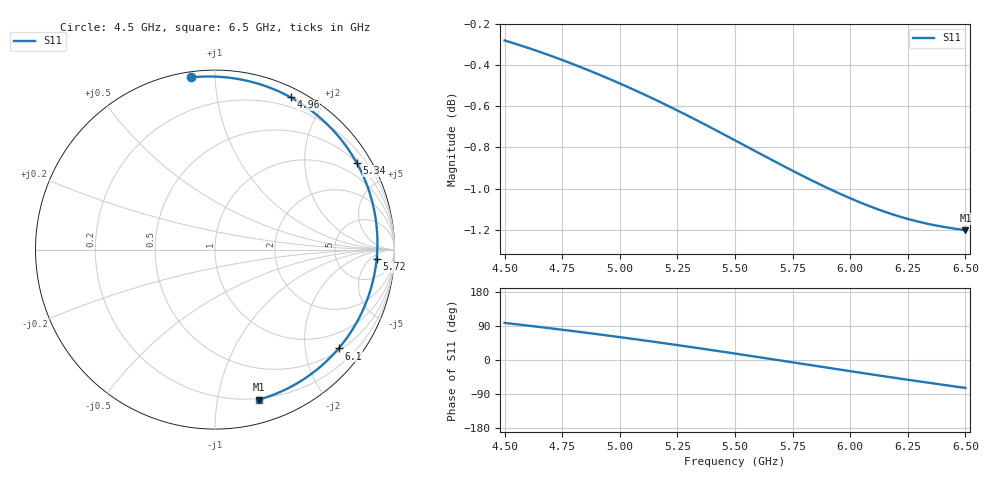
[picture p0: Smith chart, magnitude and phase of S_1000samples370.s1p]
! TOUCHSTONE file generated by CST MICROWAVE STUDIO
! Date and time: Thu Oct 27 22:41:49 2022
! Project name: L.cst
! Parameters = {Di=1.27; Epsilon_r=1.56; InnerDiameter=1.27; Length=2; Lf=10; Lg=60; OuterConductorThickness=0.2921; OuterDiameter=3.6; Wf=3; Wp=41.2; de=1.5; df=6.8; g=0.8; gx=3.76693; gy=4.74539; h=2.34; hf=1.524; px=8.68638; py=11.8731; w=9.7; wx=4.91945; wy=7.12775}
! Header version: 2018
! Port assignment regex: !\s*Touchstone port\s*([0-9]+)\s*=\s*(CST MWS port|CST DS port)\s*([0-9]+|Zmin|Zmax)\s*\(\"(.*)\"\)(\s*mode\s*([0-9]+))?.*
! Touchstone port assignment:
! Touchstone port 1 = CST MWS port 1 ("")
# GHz S DB R 50
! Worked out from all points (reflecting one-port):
!   101 points, 4.5 GHz to 6.5 GHz, reference 50 ohm
!   lowest |S11| = -1.2 dB at 6.5 GHz (marker M1), VSWR 14.48, Z = 9.53 - j65.9 ohm
!   phase of S11 starts at 98 deg and turns -172 deg over the sweep
!   S11 on the Smith chart (normalised r, x): 4.5 GHz: 0.03, +0.87; 4.96 GHz: 0.10, +1.61; 5.34 GHz: 0.52, +3.49; 5.72 GHz: 15, -8; 6.1 GHz: 0.56, -2.75; 6.5 GHz: 0.19, -1.32
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4.5  -0.28 97.9
4.58  -0.31 92.3
4.64  -0.33 88.0
4.76  -0.38 79.1
4.86  -0.42 71.4
4.96  -0.47 63.6
5  -0.49 60.3
5.12  -0.55 50.4
5.18  -0.58 45.3
5.26  -0.63 38.4
5.34  -0.67 31.4
5.42  -0.72 24.2
5.5  -0.77 17.0
5.56  -0.80 11.5
5.62  -0.84 5.9
5.72  -0.90 -3.4
5.76  -0.92 -7.1
5.82  -0.95 -12.7
5.88  -0.99 -18.3
5.94  -1.02 -23.9
6  -1.05 -29.4
6.1  -1.09 -38.6
6.18  -1.12 -45.9
6.26  -1.15 -53.0
6.32  -1.17 -58.3
6.38  -1.18 -63.5
6.44  -1.19 -68.6
6.5  -1.20 -73.7
